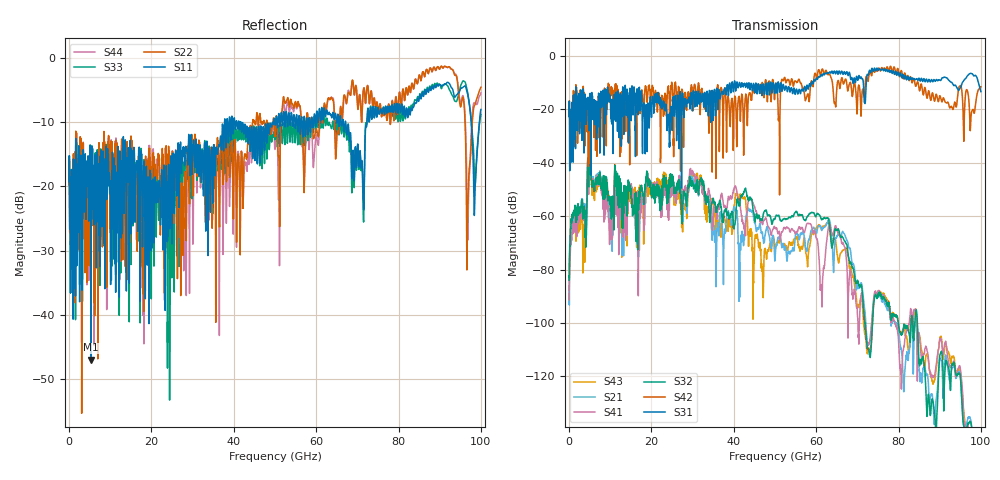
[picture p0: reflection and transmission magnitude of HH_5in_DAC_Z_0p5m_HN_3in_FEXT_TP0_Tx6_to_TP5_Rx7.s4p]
# GHz S RI R 45
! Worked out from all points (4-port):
!   4000 points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, 25 MHz to 100 GHz, reference 45 ohm
!   strongest paths, dB at 25 MHz, 25.02 GHz, 50.02 GHz, 75.03 GHz, 100 GHz:
!     S31: -22.7, -27.8, -12.7, -5.4, -13.3
!     S42: -22.5, -11.1, -12.9, -5.1, -11.5
!     S32: -83.9, -44.4, -61.0, -90.1, -177.1
!     S41: -91.3, -47.0, -64.4, -89.1, -180.2
!     S21: -88.6, -46.0, -76.2, -90.0, -175.1
!     S43: -87.8, -45.1, -73.4, -89.4, -182.3
!   lowest |S11| = -47.0 dB at 5.35 GHz (marker M1), VSWR 1.01, Z = 44.8 - j0.354 ohm
!   |S11| at or under -10 dB: start of sweep to 37.76 GHz; 41.71 GHz to 49.4 GHz (7.688 GHz wide, 16.9 % of centre); 67.18 GHz to 72.34 GHz (5.159 GHz wide, 7.4 % of centre) (the widest 3 of 34)
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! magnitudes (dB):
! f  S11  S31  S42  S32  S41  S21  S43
! 25 MHz  -19.2  -22.7  -22.5  -83.9  -91.3  -88.6  -87.8
! 5.35 GHz  -47.0  -44.5  -22.9  -44.6  -44.2  -43.6  -46.1
! 10.1 GHz  -35.3  -19.3  -13.9  -57.7  -63.1  -60.5  -56.7
! 29.77 GHz  -14.5  -14.4  -11.6  -48.7  -44.2  -47.0  -45.9
! 46.92 GHz  -14.4  -14.1  -10.0  -61.3  -62.9  -65.9  -78.8
! 96.9 GHz  -6.0  -7.1  -14.2  -137.3  -138.5  -135.3  -141.4
! 100 GHz  -8.0  -13.3  -11.5  -177.1  -180.2  -175.1  -182.3
